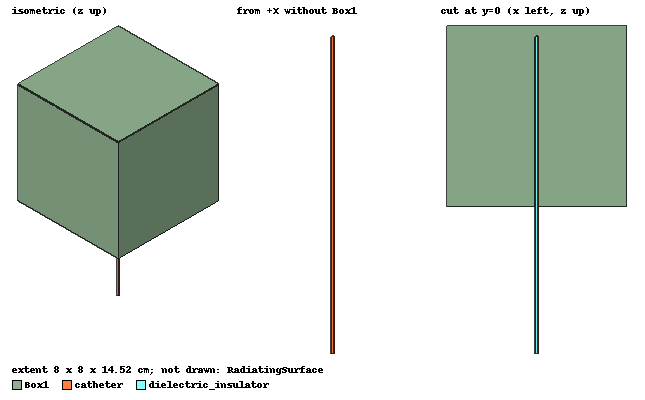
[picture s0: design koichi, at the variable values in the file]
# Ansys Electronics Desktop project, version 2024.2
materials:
  vacuum: permittivity=1
  Duroid (tm): permittivity=2.2 dielectric_loss_tangent=0.0009
  pec: conductivity=1e+30
  Teflon (tm): permittivity=2.1 dielectric_loss_tangent=0.001
  catheter: permittivity=2.6
  liver: permittivity=43.03 conductivity=1.69

design koichi (HFSS, HFSS Terminal Network, model units cm)
options: Allow_Material_Override Save_Adaptive_support_files open_region{BoundaryType=0 OpFreq=5GHz}
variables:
  # --Antenna Dimensions
  # --Substrate Dimensions
  subH = 0.1575cm
  subX = 2.7cm
  subY = 2.3cm
  # --Feed Dimensions
  coax_inner_rad = (0.29/2) mm
  feedLength = 140mm
  L_ls = 10mm
  L_ts = 20mm
  W_sl = 1mm
  In_dia_out_cond = 0.94mm
  Out_dia_out_cond = 1.19mm
  t_cath = 0.3mm
  L_catheter = 140mm
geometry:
  inner_conductor [pec] = cylinder(axis=Z, base_centre=(0, 0, 0), radius=coax_inner_rad, height=-feedLength)
  dielectric_insulator [Teflon (tm)] = cylinder(axis=Z, base_centre=(0, 0, 0), radius=In_dia_out_cond/2, height=-feedLength)
  port1 = circle(normal=Z, centre=(0, 0, -feedLength), radius=In_dia_out_cond/2)
  RadiatingSurface [vacuum] = region(absolute_offset=2cm on all sides)
  subtract_out_cond = cylinder(axis=Z, base_centre=(0, 0, 0), radius=In_dia_out_cond/2, height=-feedLength)
  outer_conductor [pec] = cylinder(axis=Z, base_centre=(0, 0, 0), radius=Out_dia_out_cond/2, height=-feedLength)
  outer_conductor.subtract(subtract_out_cond)
  short_circ = circle(normal=Z, centre=(0, 0, 0), radius=Out_dia_out_cond/2)
  coax_pin_1 = inner_conductor.copy()
  dielectric_insulator.subtract(coax_pin_1)
  outer_cond1 = cylinder(axis=Z, base_centre=(0, 0, -L_ls-W_sl/2), radius=Out_dia_out_cond/2, height=W_sl)
  subtract_out_cond1 = cylinder(axis=Z, base_centre=(0, 0, 0), radius=In_dia_out_cond/2, height=-feedLength)
  outer_cond1.subtract(subtract_out_cond1)
  outer_cond2 = cylinder(axis=Z, base_centre=(0, 0, -L_ts-W_sl/2), radius=Out_dia_out_cond/2, height=W_sl)
  subtract_out_cond2 = cylinder(axis=Z, base_centre=(0, 0, 0), radius=In_dia_out_cond/2, height=-feedLength)
  outer_cond2.subtract(subtract_out_cond2)
  outer_conductor.subtract(outer_cond1, outer_cond2)
  catheter [catheter] = cylinder(axis=Z, base_centre=(0, 0, 0cm), radius=Out_dia_out_cond/2+t_cath, height=-L_catheter)
  catheter1 = cylinder(axis=Z, base_centre=(0, 0, 0cm), radius=Out_dia_out_cond/2, height=-feedLength)
  catheter.subtract(catheter1)
  Cone1 = cone(axis=Z, base_centre=(0, 0, 0cm), bottom_radius=Out_dia_out_cond/2+t_cath, top_radius=0cm, height=0.1cm)
  catheter.unite(Cone1)
  port_cap [pec] = cylinder(axis=Z, base_centre=(0, 0, -feedLength), radius=In_dia_out_cond/2, height=-subH/10)
  Box1 [liver] = box(corner=(-40mm, -40mm, 5mm), size=(80mm, 80mm, -80mm))
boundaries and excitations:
  coax_outer: Perfect E Faces=dielectric_insulator.face(side)
  AutoOpen1: Radiation Objects=RadiatingSurface
  PerfE1: Perfect E Objects=short_circ
  coax_pin_T1: Terminal port=1 Faces=inner_conductor.face(-z end) TerminalResistance=50ohm
  1: Wave Port Faces=port1.face WavePortType=Terminal NumModes=1
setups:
  ATK_Solution: HfssDriven Frequency=5GHz MaxDeltaS=0.02 MaximumPasses=15 MinimumPasses=1 MinimumConvergedPasses=1 PercentRefinement=30 BasisOrder=1 PortAccuracy=2 DrivenSolverType="Direct Solver" IESolverType=ACA
    sweep FF_Sweep: point 2.45GHz; Type=Discrete SaveFields
    sweep SParam_Sweep: 1GHz to 5GHz, 100 points; Type=Interpolating InterpTolerance=0.5 InterpMaxSolns=250 PassivityErrorTolerance=0.0001
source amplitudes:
  1:1: 1V 0deg
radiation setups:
  3D: Infinite Sphere Theta=0deg..180deg step 2deg Phi=-180deg..180deg step 2deg
  Elevation: Infinite Sphere Theta=-180deg..180deg step 1deg Phi=0deg..90deg step 90deg
  Azimuth: Infinite Sphere Theta=90deg..90deg step 0deg Phi=-180deg..180deg step 1deg
  ATK_2D: Infinite Sphere Theta=-180deg..180deg step 1deg Phi=0deg..90deg step 90deg
  ATK_3D: Infinite Sphere Theta=-180deg..180deg step 2deg Phi=0deg..180deg step 5deg
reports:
  ff_3D_GainTotal: dB(GainTotal) vs Phi, Theta on ATK_Solution : LastAdaptive, ATK_3D [Freq=1e+10]
  ff_2D_GainTotal: dB(GainTotal) vs Theta on ATK_Solution : LastAdaptive, ATK_2D [Phi=all Freq=1e+10]
  ff_2D_GainTotal_Stacked: dB(GainTotal) vs Theta on ATK_Solution : FF_Sweep, ATK_2D [Phi=all Freq=all]
  Return Loss: dB(St11) vs Freq on ATK_Solution : SParam_Sweep
  Input Impedance: St11 on ATK_Solution : SParam_Sweep [Freq=all]
